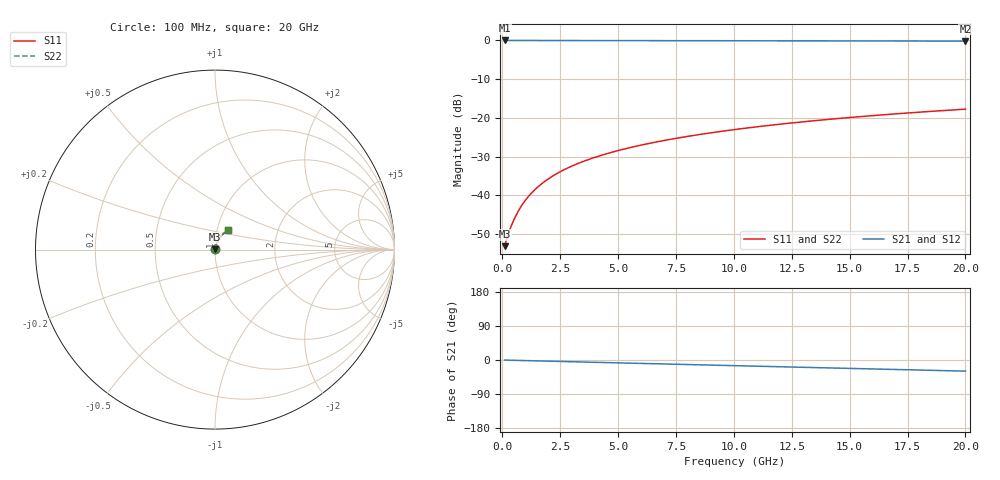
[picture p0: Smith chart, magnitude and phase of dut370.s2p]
! Touchstone file exported from HFSS 2026.1.0
!  File:  C:/ffzhzh/LocalFiles/Ansys_Project_Files/temp_train_TMRDL_370_1783004337_53980.aedt
!  Generated:  11:00:28 PM Jul  2, 2026
!  Design:  TMRDL
!  Project:  temp_train_TMRDL_370_1783004337_53980
! Variables:
!  h_bsmrdl = 2um
!  h_ox = 20um
!  h_rdl = 5um
!  h_sub = 80um
!  h_tmrdl = 5.84um
!  h_tsv = 80um
!  h_via = 3um
!  l_bsmrdl = 300um
!  l_sub = 908.01um
!  l_tmrdl = 508.01um
!  m_sub = 200um
!  pitch = 26.89um
!  r_tsv = 6um
!  s_tmrdl = 10um
!  w_bsmrdl = 18um
!  w_sub = 500um
!  w_tmrdl = 17.34um
!  x_tsv_center1 = 516.68um
!  x_tsv_center2 = 834.68um
!  x_tsv_center3 = 1360.03um
!  x_tsv_center4 = 1678.03um
!  x_tsv_center5 = 2203.38um
!  x_tsv_center6 = 2521.38um
# GHz S MA R 50.000000
! Terminal data exported
! Port[1] = TM_RDL1_1_T1
! Port[2] = TM_RDL1_1_T2
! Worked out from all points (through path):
!   200 points, 100 MHz to 20 GHz, reference 50 ohm
!   highest |S21| = -0.02 dB at 100 MHz (marker M1); lowest = -0.2 dB at 20 GHz (marker M2)
!   group delay of S21, straight-line fit = 4.06 ps
!   lowest |S11| = -53.1 dB at 100 MHz (marker M3), VSWR 1.00, Z = 50.2 + j0.105 ohm
!   |S11| at or under -10 dB: start of sweep to end of sweep
!   |S22| runs from -53.1 to -17.8 dB; largest |S21 - S12| = 3.2e-15
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0.1  0.00221 28.1  0.9981 -0.2  0.9981 -0.2  0.00221 28.1
! Gamma 0 0 0 0
! Port Impedance 50 0 50 0
0.2  0.002823 41.3  0.9979 -0.3  0.9979 -0.3  0.002824 41.3
0.3  0.003452 50.0  0.9977 -0.5  0.9977 -0.5  0.003452 50.0
0.4  0.004124 56.3  0.9976 -0.6  0.9976 -0.6  0.004124 56.3
0.6  0.005573 64.2  0.9974 -0.9  0.9974 -0.9  0.005573 64.2
0.7  0.006329 66.7  0.9974 -1.1  0.9974 -1.1  0.00633 66.7
0.9  0.007875 70.1  0.9973 -1.4  0.9973 -1.4  0.007875 70.1
1.2  0.01022 72.9  0.9971 -1.9  0.9971 -1.9  0.01022 72.9
1.4  0.01179 74.0  0.9969 -2.2  0.9969 -2.2  0.01179 74.0
1.7  0.01412 74.9  0.9967 -2.6  0.9967 -2.6  0.01412 74.9
2.2  0.01794 75.4  0.9963 -3.4  0.9963 -3.4  0.01794 75.4
2.8  0.0224 75.3  0.9957 -4.3  0.9957 -4.3  0.0224 75.3
3.5  0.02745 74.9  0.995 -5.4  0.995 -5.4  0.02745 74.9
4.2  0.03236 74.3  0.9943 -6.4  0.9943 -6.4  0.03236 74.3
5  0.03785 73.5  0.9935 -7.6  0.9935 -7.6  0.03785 73.5
5.9  0.04391 72.6  0.9926 -8.9  0.9926 -8.9  0.04391 72.6
6.8  0.04987 71.7  0.9917 -10.2  0.9917 -10.2  0.04987 71.7
8.3  0.05964 70.0  0.9904 -12.4  0.9904 -12.4  0.05964 70.0
10.1  0.07111 68.0  0.9888 -15.1  0.9888 -15.1  0.07111 67.9
13.4  0.09151 63.9  0.9858 -19.9  0.9858 -19.9  0.09151 63.9
16.7  0.111 59.7  0.9827 -24.6  0.9827 -24.6  0.111 59.7
20  0.1296 55.4  0.9795 -29.4  0.9795 -29.4  0.1295 55.4
